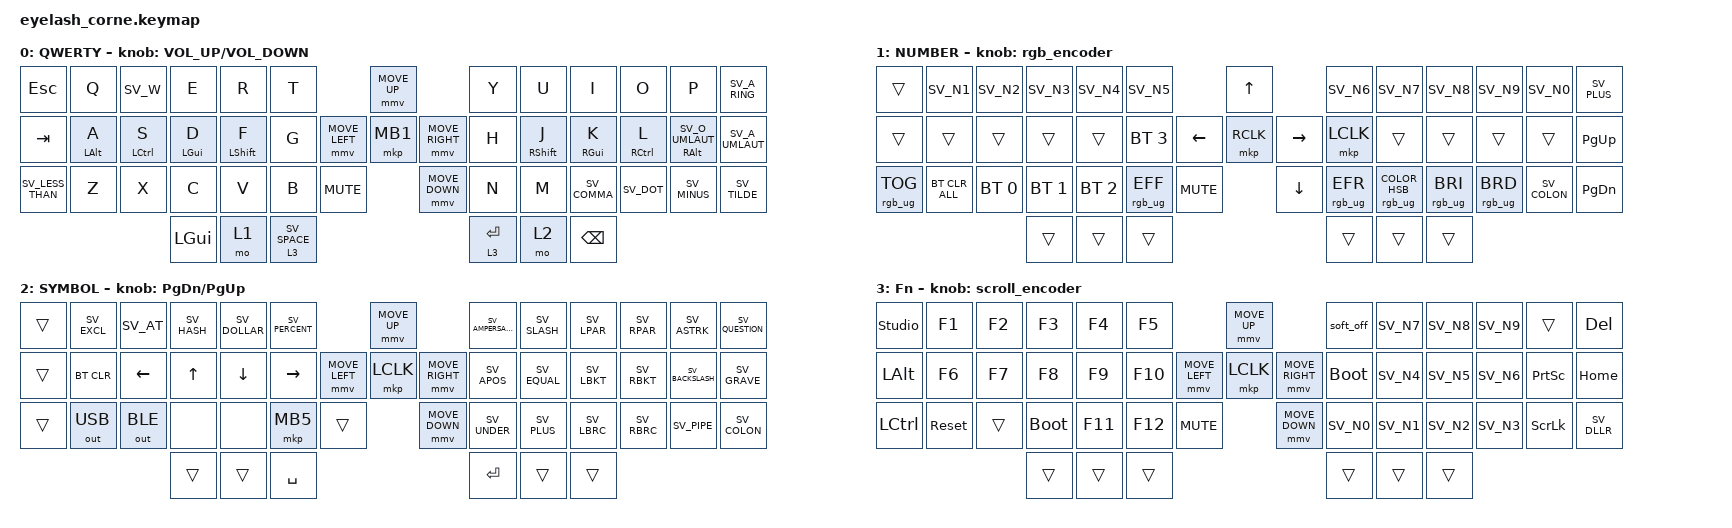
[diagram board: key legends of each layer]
#include <dt-bindings/zmk/mouse.h>
#include <input/processors.dtsi>
#include "keys_sv.h"
#include <behaviors.dtsi>
#include <dt-bindings/zmk/bt.h>
#include <dt-bindings/zmk/keys.h>
#include <dt-bindings/zmk/outputs.h>
#include <dt-bindings/zmk/pointing.h>
#include <dt-bindings/zmk/rgb.h>

/*

   &mmv_input_listener {
       input-processors = <&zip_xy_scaler 2 1>;
   };

   &msc_input_listener {
       input-processors = <&zip_xy_scaler 2 1>;
   };

 */

#define ZMK_MOUSE_DEFAULT_MOVE_VAL 1200  // 600
#define ZMK_MOUSE_DEFAULT_SCRL_VAL 20    // 10

/ {
    behaviors {
        td0: td0 {
            compatible = "zmk,behavior-tap-dance";
            display-name = "Shift/Caps Lock Tap Dance";
            #binding-cells = <0>;
            bindings = <&kp LEFT_SHIFT>, <&kp CAPS>;
        };

        mod_tap_idle: mod_tap_idle {
            compatible = "zmk,behavior-hold-tap";
            label = "MOD_TAP_IDLE";
            #binding-cells = <2>;
            tapping-term-ms = <150>;
            require-prior-idle-ms = <100>;
            flavor = "tap-preferred";
            bindings = <&kp>, <&kp>;
        };
    };

    rgb_encoder: rgb_encoder {
        compatible = "zmk,behavior-sensor-rotate";
        #sensor-binding-cells = <0>;
        bindings = <&rgb_ug RGB_BRI>, <&rgb_ug RGB_BRD>;
    };

    scroll_encoder: scroll_encoder {
        compatible = "zmk,behavior-sensor-rotate";
        #sensor-binding-cells = <0>;
        bindings = <&msc SCRL_DOWN>, <&msc SCRL_UP>;

        tap-ms = <30>;
    };

    keymap {
        compatible = "zmk,keymap";

        default_layer {
            display-name = "QWERTY";
            bindings = <
&kp ESC           &kp Q                     &kp SV_W               &kp E                     &kp R                       &kp T                                         &mmv MOVE_UP                     &kp Y        &kp U                        &kp I                      &kp O                          &kp P                                &kp SV_A_RING
&kp TAB           &mod_tap_idle LEFT_ALT A  &mod_tap_idle LCTRL S  &mod_tap_idle LEFT_GUI D  &mod_tap_idle LEFT_SHIFT F  &kp G                         &mmv MOVE_LEFT  &mkp MB1        &mmv MOVE_RIGHT  &kp H        &mod_tap_idle RIGHT_SHIFT J  &mod_tap_idle RIGHT_GUI K  &mod_tap_idle RIGHT_CONTROL L  &mod_tap_idle RIGHT_ALT SV_O_UMLAUT  &kp SV_A_UMLAUT
&kp SV_LESS_THAN  &kp Z                     &kp X                  &kp C                     &kp V                       &kp B           &kp K_MUTE                    &mmv MOVE_DOWN                   &kp N        &kp M                        &kp SV_COMMA               &kp SV_DOT                     &kp SV_MINUS                         &kp SV_TILDE
                                                                   &kp LGUI                  &mo 1                       &lt 3 SV_SPACE                                                                 &lt 3 ENTER  &mo 2                        &kp BACKSPACE
            >;

            sensor-bindings = <&inc_dec_kp C_VOLUME_UP C_VOLUME_DOWN>;
        };

        lower_layer {
            display-name = "NUMBER";
            bindings = <
&trans           &kp SV_N1       &kp SV_N2     &kp SV_N3     &kp SV_N4     &kp SV_N5                                &kp UP_ARROW             &kp SV_N6        &kp SV_N7                      &kp SV_N8        &kp SV_N9        &kp SV_N0     &kp SV_PLUS
&trans           &trans          &trans        &trans        &trans        &bt BT_SEL 3                   &kp LEFT  &mkp RCLK     &kp RIGHT  &mkp LCLK        &trans                         &trans           &trans           &trans        &kp PG_UP
&rgb_ug RGB_TOG  &bt BT_CLR_ALL  &bt BT_SEL 0  &bt BT_SEL 1  &bt BT_SEL 2  &rgb_ug RGB_EFF  &kp C_MUTE              &kp DOWN                 &rgb_ug RGB_EFR  &rgb_ug RGB_COLOR_HSB(0,0,99)  &rgb_ug RGB_BRI  &rgb_ug RGB_BRD  &kp SV_COLON  &kp PG_DN
                                               &trans        &trans        &trans                                                            &trans           &trans                         &trans
            >;

            sensor-bindings = <&rgb_encoder>;
        };

        raise_layer {
            display-name = "SYMBOL";
            bindings = <
&trans  &kp SV_EXCL   &kp SV_AT     &kp SV_HASH  &kp SV_DOLLAR   &kp SV_PERCENT                            &mmv MOVE_UP                     &kp SV_AMPERSAND  &kp SV_SLASH  &kp SV_LPAR  &kp SV_RPAR  &kp SV_ASTRK      &kp SV_QUESTION
&trans  &bt BT_CLR    &kp LEFT      &kp UP       &kp DOWN_ARROW  &kp RIGHT                 &mmv MOVE_LEFT  &mkp LCLK       &mmv MOVE_RIGHT  &kp SV_APOS       &kp SV_EQUAL  &kp SV_LBKT  &kp SV_RBKT  &kp SV_BACKSLASH  &kp SV_GRAVE
&trans  &out OUT_USB  &out OUT_BLE  &none        &none           &mkp MB5        &trans                    &mmv MOVE_DOWN                   &kp SV_UNDER      &kp SV_PLUS   &kp SV_LBRC  &kp SV_RBRC  &kp SV_PIPE       &kp SV_COLON
                                    &trans       &trans          &kp SPACE                                                                  &kp RET           &trans        &trans
            >;

            sensor-bindings = <&inc_dec_kp PAGE_DOWN PAGE_UP>;
        };

        layer_3 {
            display-name = "Fn";
            bindings = <
&studio_unlock  &kp F1      &kp F2  &kp F3       &kp F4   &kp F5                                 &mmv MOVE_UP                     &soft_off    &kp SV_N7  &kp SV_N8  &kp SV_N9  &trans           &kp DEL
&kp LEFT_ALT    &kp F6      &kp F7  &kp F8       &kp F9   &kp F10                &mmv MOVE_LEFT  &mkp LCLK       &mmv MOVE_RIGHT  &bootloader  &kp SV_N4  &kp SV_N5  &kp SV_N6  &kp PRINTSCREEN  &kp HOME
&kp LCTRL       &sys_reset  &trans  &bootloader  &kp F11  &kp F12  &kp C_MUTE                    &mmv MOVE_DOWN                   &kp SV_N0    &kp SV_N1  &kp SV_N2  &kp SV_N3  &kp SCROLLLOCK   &kp SV_DLLR
                                    &trans       &trans   &trans                                                                  &trans       &trans     &trans
            >;

            sensor-bindings = <&scroll_encoder>;
        };
    };
};
